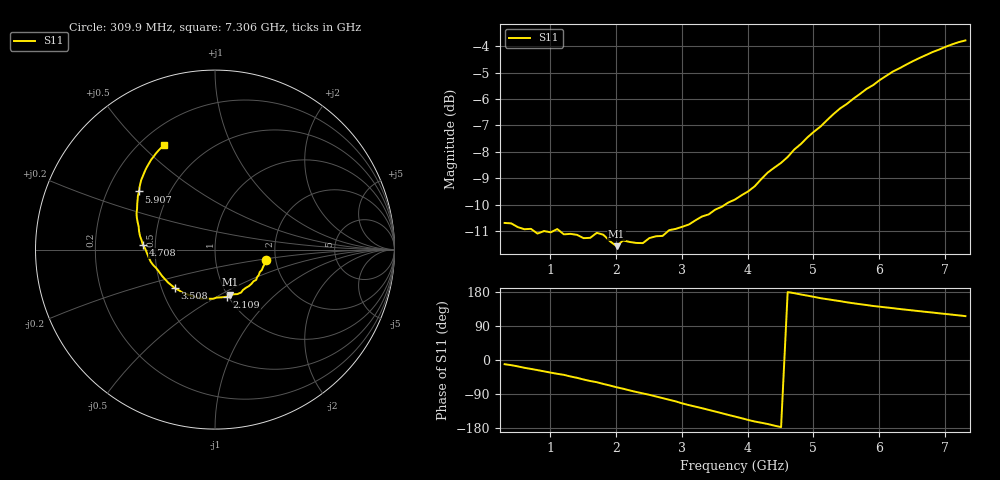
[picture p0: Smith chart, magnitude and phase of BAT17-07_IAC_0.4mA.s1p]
! Infineon Technologies  Discrete & RF Semiconductors
! BAT17-07
! IAC = 0.4 mA
! One-Port S-Parameters
# Hz  S  MA  R  50
!f  S11
!Hz  Mag  Ang
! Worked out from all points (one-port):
!   71 points, 309.9 MHz to 7.306 GHz, reference 50 ohm
!   lowest |S11| = -11.6 dB at 2.009 GHz (marker M1), VSWR 1.72, Z = 51.4 - j27.7 ohm
!   |S11| at or under -10 dB: start of sweep to 3.654 GHz
!   S11 on the Smith chart (normalised r, x): 309.9 MHz: 1.79, -0.22; 2.109 GHz: 0.99, -0.56; 3.508 GHz: 0.59, -0.28; 4.708 GHz: 0.43, +0.03; 5.907 GHz: 0.34, +0.30; 7.306 GHz: 0.29, +0.59
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3.0985e8  0.2922 -11.1
7.0965e8  0.2848 -23.5
8.096e8  0.279 -26.7
1.10945e9  0.2845 -36.4
1.2094e9  0.2781 -39.2
1.6092e9  0.2738 -55.4
1.70915e9  0.2799 -58.5
1.8091e9  0.2776 -63.2
2.009e9  0.2641 -71.9
2.10895e9  0.2708 -75.8
2.4088e9  0.2676 -88.1
2.50875e9  0.2736 -91.9
2.70865e9  0.2762 -100.6
2.8086e9  0.2831 -105.0
3.0085e9  0.2874 -114.6
3.30835e9  0.3006 -127.2
3.50825e9  0.3097 -136.0
3.8081e9  0.3235 -149.2
4.10795e9  0.3428 -162.3
4.30785e9  0.3641 -169.0
4.70765e9  0.4022 176.4
5.30735e9  0.4699 157.9
5.6072e9  0.502 149.7
5.90705e9  0.5327 142.5
6.2069e9  0.565 136.7
6.50675e9  0.5908 130.8
6.8066e9  0.6149 125.2
7.30635e9  0.6468 115.8
